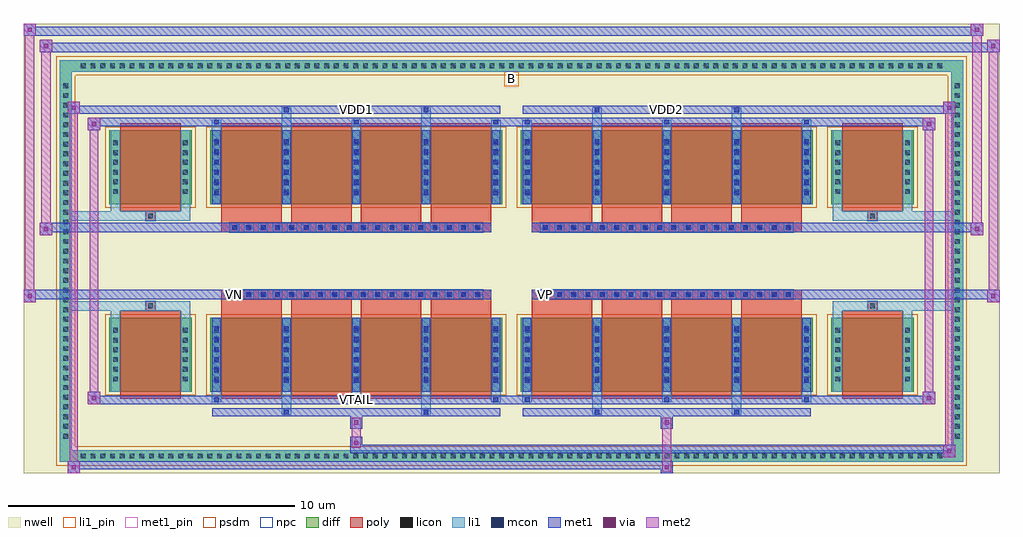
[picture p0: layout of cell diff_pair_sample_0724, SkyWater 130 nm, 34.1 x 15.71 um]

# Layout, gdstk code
import gdstk
lib = gdstk.Library(unit=1e-6, precision=5e-09)
def R(c, l, rs):  # rectangles x0, y0, x1, y1
    for r in rs: c.add(gdstk.rectangle(r[:2], r[2:], *l))
def A(c, l, x, y, w, h, nx, ny, dx, dy):  # array of equal rectangles
    R(c, l, [(x+i*dx, y+j*dy, x+i*dx+w, y+j*dy+h) for i in range(nx) for j in range(ny)])
def P(c, l, *ps):  # polygons
    for p in ps: c.add(gdstk.Polygon(p, *l))
nwell = (64, 20)
diff = (65, 20)
poly = (66, 20)
licon = (66, 44)
li1_pin = (67, 16)
li1 = (67, 20)
mcon = (67, 44)
met1_pin = (68, 16)
met1 = (68, 20)
via = (68, 44)
met2 = (69, 20)
psdm = (94, 20)
npc = (95, 20)

diff_pair_sample_0724 = lib.new_cell('diff_pair_sample_0724')
R(diff_pair_sample_0724, nwell, [(-17.05,-7.42,17.05,8.29), (-14.37,-5.61,-0.01,-0.805), (0.01,-5.61,14.37,-0.805), (-14.37,0.805,-0.01,5.61), (0.01,0.805,14.37,5.61)])
A(diff_pair_sample_0724, diff, -15.165, -7.02, 0.41, 0.41, 89, 2, 0.34, 13.63)
A(diff_pair_sample_0724, diff, -15.78, -6.325, 0.41, 0.41, 1, 37, 0, 0.34)
A(diff_pair_sample_0724, diff, 15.37, -6.325, 0.41, 0.41, 1, 37, 0, 0.34)
R(diff_pair_sample_0724, diff, [(-15.165,-7.02,15.165,-6.61), (-15.78,-6.325,-15.37,6.325), (15.37,-6.325,15.78,6.325), (-14.06,-4.565,-11.17,-1.985), (-10.53,-4.565,-0.32,-1.985), (0.32,-4.565,10.53,-1.985), (11.17,-4.565,14.06,-1.985), (-14.06,1.985,-11.17,4.565), (-10.53,1.985,-0.32,4.565), (0.32,1.985,10.53,4.565), (11.17,1.985,14.06,4.565), (-15.165,6.61,15.165,7.02)])
P(diff_pair_sample_0724, diff, [(15.78,7.02),(-15.78,7.02),(-15.78,-6.61),(-15.37,-6.61),(-15.37,6.61),(15.37,6.61),(15.37,-6.61),(-15.37,-6.61),(-15.78,-6.61),(-15.78,-7.02),(15.78,-7.02)])
A(diff_pair_sample_0724, poly, -10.14, -4.815, 2.11, 3.08, 4, 2, 2.44, 6.55)
A(diff_pair_sample_0724, poly, 0.71, -4.815, 2.11, 3.08, 4, 2, 2.44, 6.55)
A(diff_pair_sample_0724, poly, -10.14, -1.735, 2.11, 0.4, 4, 2, 2.44, 3.07)
A(diff_pair_sample_0724, poly, 0.71, -1.735, 2.11, 0.4, 4, 2, 2.44, 3.07)
A(diff_pair_sample_0724, poly, -9.84, -1.335, 0.33, 0.33, 18, 2, 0.5, 2.34)
A(diff_pair_sample_0724, poly, 1.01, -1.335, 0.33, 0.33, 18, 2, 0.5, 2.34)
R(diff_pair_sample_0724, poly, [(-13.67,-4.815,-11.56,-1.735), (11.56,-4.815,13.67,-1.735), (-12.78,-1.735,-12.45,-1.405), (-12.78,-1.735,-12.45,-1.405), (12.45,-1.735,12.78,-1.405), (12.45,-1.735,12.78,-1.405), (-10.14,-1.335,-0.71,-1.005), (0.71,-1.335,10.14,-1.005), (-10.14,1.005,-0.71,1.335), (0.71,1.005,10.14,1.335), (-12.78,1.405,-12.45,1.735), (-12.78,1.405,-12.45,1.735), (12.45,1.405,12.78,1.735), (12.45,1.405,12.78,1.735), (-13.67,1.735,-11.56,4.815), (11.56,1.735,13.67,4.815)])
A(diff_pair_sample_0724, licon, -15.045, -6.9, 0.17, 0.17, 89, 2, 0.34, 13.63)
A(diff_pair_sample_0724, licon, -15.66, -6.205, 0.17, 0.17, 1, 37, 0, 0.34)
A(diff_pair_sample_0724, licon, 15.49, -6.205, 0.17, 0.17, 1, 37, 0, 0.34)
A(diff_pair_sample_0724, licon, -13.92, -4.21, 0.17, 0.17, 1, 6, 0, 0.34)
A(diff_pair_sample_0724, licon, -11.48, -4.21, 0.17, 0.17, 1, 6, 0, 0.34)
A(diff_pair_sample_0724, licon, -10.39, -4.21, 0.17, 0.17, 5, 6, 2.44, 0.34)
A(diff_pair_sample_0724, licon, 0.46, -4.21, 0.17, 0.17, 5, 6, 2.44, 0.34)
A(diff_pair_sample_0724, licon, 11.31, -4.21, 0.17, 0.17, 1, 6, 0, 0.34)
A(diff_pair_sample_0724, licon, 13.75, -4.21, 0.17, 0.17, 1, 6, 0, 0.34)
A(diff_pair_sample_0724, licon, -9.76, -1.255, 0.17, 0.17, 18, 2, 0.5, 2.34)
A(diff_pair_sample_0724, licon, 1.09, -1.255, 0.17, 0.17, 18, 2, 0.5, 2.34)
A(diff_pair_sample_0724, licon, -13.92, 2.34, 0.17, 0.17, 1, 6, 0, 0.34)
A(diff_pair_sample_0724, licon, -11.48, 2.34, 0.17, 0.17, 1, 6, 0, 0.34)
A(diff_pair_sample_0724, licon, -10.39, 2.34, 0.17, 0.17, 5, 6, 2.44, 0.34)
A(diff_pair_sample_0724, licon, 0.46, 2.34, 0.17, 0.17, 5, 6, 2.44, 0.34)
A(diff_pair_sample_0724, licon, 11.31, 2.34, 0.17, 0.17, 1, 6, 0, 0.34)
A(diff_pair_sample_0724, licon, 13.75, 2.34, 0.17, 0.17, 1, 6, 0, 0.34)
R(diff_pair_sample_0724, licon, [(-12.7,-1.655,-12.53,-1.485), (12.53,-1.655,12.7,-1.485), (-12.7,1.485,-12.53,1.655), (12.53,1.485,12.7,1.655)])
R(diff_pair_sample_0724, li1_pin, [(-0.25,6.11,0.25,6.61)])
A(diff_pair_sample_0724, li1, -15.125, -6.98, 0.33, 0.33, 89, 2, 0.34, 13.63)
A(diff_pair_sample_0724, li1, -15.74, -6.285, 0.33, 0.33, 1, 37, 0, 0.34)
A(diff_pair_sample_0724, li1, 15.41, -6.285, 0.33, 0.33, 1, 37, 0, 0.34)
A(diff_pair_sample_0724, li1, -10.47, -4.94, 0.33, 0.375, 3, 2, 4.88, 9.505)
A(diff_pair_sample_0724, li1, -10.39, -4.94, 0.17, 0.17, 3, 2, 4.88, 9.71)
A(diff_pair_sample_0724, li1, 0.38, -4.94, 0.33, 0.375, 3, 2, 4.88, 9.505)
A(diff_pair_sample_0724, li1, 0.46, -4.94, 0.17, 0.17, 3, 2, 4.88, 9.71)
A(diff_pair_sample_0724, li1, -10.47, -4.565, 0.33, 2.58, 5, 2, 2.44, 6.55)
A(diff_pair_sample_0724, li1, 0.38, -4.565, 0.33, 2.58, 5, 2, 2.44, 6.55)
A(diff_pair_sample_0724, li1, -14, -4.29, 0.33, 0.33, 1, 6, 0, 0.34)
A(diff_pair_sample_0724, li1, -11.56, -4.29, 0.33, 0.33, 1, 6, 0, 0.34)
A(diff_pair_sample_0724, li1, -10.47, -4.29, 0.33, 0.33, 5, 6, 2.44, 0.34)
A(diff_pair_sample_0724, li1, 0.38, -4.29, 0.33, 0.33, 5, 6, 2.44, 0.34)
A(diff_pair_sample_0724, li1, 11.23, -4.29, 0.33, 0.33, 1, 6, 0, 0.34)
A(diff_pair_sample_0724, li1, 13.67, -4.29, 0.33, 0.33, 1, 6, 0, 0.34)
A(diff_pair_sample_0724, li1, -10.39, -4.26, 0.17, 0.17, 5, 6, 2.44, 0.36)
A(diff_pair_sample_0724, li1, -10.39, -4.26, 0.17, 1.97, 5, 2, 2.44, 6.55)
A(diff_pair_sample_0724, li1, 0.46, -4.26, 0.17, 0.17, 5, 6, 2.44, 0.36)
A(diff_pair_sample_0724, li1, 0.46, -4.26, 0.17, 1.97, 5, 2, 2.44, 6.55)
A(diff_pair_sample_0724, li1, -9.84, -1.335, 0.33, 0.33, 18, 2, 0.5, 2.34)
A(diff_pair_sample_0724, li1, 1.01, -1.335, 0.33, 0.33, 18, 2, 0.5, 2.34)
A(diff_pair_sample_0724, li1, -14, 2.26, 0.33, 0.33, 1, 6, 0, 0.34)
A(diff_pair_sample_0724, li1, -11.56, 2.26, 0.33, 0.33, 1, 6, 0, 0.34)
A(diff_pair_sample_0724, li1, -10.47, 2.26, 0.33, 0.33, 5, 6, 2.44, 0.34)
A(diff_pair_sample_0724, li1, 0.38, 2.26, 0.33, 0.33, 5, 6, 2.44, 0.34)
A(diff_pair_sample_0724, li1, 11.23, 2.26, 0.33, 0.33, 1, 6, 0, 0.34)
A(diff_pair_sample_0724, li1, 13.67, 2.26, 0.33, 0.33, 1, 6, 0, 0.34)
A(diff_pair_sample_0724, li1, -10.39, 2.29, 0.17, 0.17, 5, 6, 2.44, 0.36)
A(diff_pair_sample_0724, li1, 0.46, 2.29, 0.17, 0.17, 5, 6, 2.44, 0.36)
R(diff_pair_sample_0724, li1, [(-15.78,-7.02,-15.37,-6.61), (-15.78,-7.02,-15.37,-6.61), (-15.37,-7.02,15.37,-6.61), (15.37,-7.02,15.78,-6.61), (15.37,-7.02,15.78,-6.61), (-15.78,-6.61,-15.37,6.61), (15.37,-6.61,15.78,6.61), (-8.03,-5.37,-7.7,-4.565), (-7.95,-5.37,-7.78,-5.2), (-3.15,-5.37,-2.82,-4.565), (-3.07,-5.37,-2.9,-5.2), (2.82,-5.37,3.15,-4.565), (2.9,-5.37,3.07,-5.2), (7.7,-5.37,8.03,-4.565), (7.78,-5.37,7.95,-5.2), (-14,-4.565,-13.67,-1.985), (-11.56,-4.565,-11.23,-1.985), (11.23,-4.565,11.56,-1.985), (13.67,-4.565,14,-1.985), (-14,-1.985,-13.67,-1.405), (-11.56,-1.985,-11.23,-1.405), (11.23,-1.985,11.56,-1.405), (13.67,-1.985,14,-1.405), (-15.78,-1.735,-12.78,-1.405), (-14,-1.735,-12.78,-1.405), (-12.78,-1.735,-12.45,-1.405), (-12.45,-1.735,-11.23,-1.405), (11.23,-1.735,12.45,-1.405), (12.45,-1.735,12.78,-1.405), (12.45,-1.735,15.78,-1.405), (12.78,-1.735,14,-1.405), (-15.78,1.405,-12.78,1.735), (-14,1.405,-12.78,1.735), (-14,1.405,-13.67,1.985), (-12.78,1.405,-12.45,1.735), (-12.45,1.405,-11.23,1.735), (-11.56,1.405,-11.23,1.985), (11.23,1.405,12.45,1.735), (11.23,1.405,11.56,1.985), (12.45,1.405,12.78,1.735), (12.45,1.405,15.78,1.735), (12.78,1.405,14,1.735), (13.67,1.405,14,1.985), (-14,1.985,-13.67,4.565), (-11.56,1.985,-11.23,4.565), (11.23,1.985,11.56,4.565), (13.67,1.985,14,4.565), (-8.03,4.565,-7.7,5.37), (-3.15,4.565,-2.82,5.37), (2.82,4.565,3.15,5.37), (7.7,4.565,8.03,5.37), (-7.95,5.2,-7.78,5.37), (-3.07,5.2,-2.9,5.37), (2.9,5.2,3.07,5.37), (7.78,5.2,7.95,5.37), (-15.78,6.61,-15.37,7.02), (-15.78,6.61,-15.37,7.02), (-15.37,6.61,15.37,7.02), (15.37,6.61,15.78,7.02), (15.37,6.61,15.78,7.02)])
A(diff_pair_sample_0724, mcon, -10.39, -4.94, 0.17, 0.17, 3, 2, 4.88, 9.71)
A(diff_pair_sample_0724, mcon, 0.46, -4.94, 0.17, 0.17, 3, 2, 4.88, 9.71)
A(diff_pair_sample_0724, mcon, -10.39, -4.26, 0.17, 0.17, 5, 6, 2.44, 0.36)
A(diff_pair_sample_0724, mcon, 0.46, -4.26, 0.17, 0.17, 5, 6, 2.44, 0.36)
A(diff_pair_sample_0724, mcon, -9.76, -1.255, 0.17, 0.17, 18, 2, 0.5, 2.34)
A(diff_pair_sample_0724, mcon, 1.09, -1.255, 0.17, 0.17, 18, 2, 0.5, 2.34)
A(diff_pair_sample_0724, mcon, -10.39, 2.29, 0.17, 0.17, 5, 6, 2.44, 0.36)
A(diff_pair_sample_0724, mcon, 0.46, 2.29, 0.17, 0.17, 5, 6, 2.44, 0.36)
R(diff_pair_sample_0724, mcon, [(-7.95,-5.37,-7.78,-5.2), (-3.07,-5.37,-2.9,-5.2), (2.9,-5.37,3.07,-5.2), (7.78,-5.37,7.95,-5.2), (-7.95,5.2,-7.78,5.37), (-3.07,5.2,-2.9,5.37), (2.9,5.2,3.07,5.37), (7.78,5.2,7.95,5.37)])
R(diff_pair_sample_0724, met1_pin, [(-5.56,-4.98,-5.29,-4.71), (-9.81,-1.295,-9.54,-1.025), (1.04,-1.295,1.31,-1.025), (-5.56,5.16,-5.29,5.43), (5.29,5.16,5.56,5.43)])
A(diff_pair_sample_0724, met1, -10.45, -5, 0.29, 0.29, 3, 2, 4.88, 9.71)
A(diff_pair_sample_0724, met1, 0.4, -5, 0.29, 0.29, 3, 2, 4.88, 9.71)
A(diff_pair_sample_0724, met1, -10.45, -4.565, 0.29, 2.58, 5, 2, 2.44, 6.55)
A(diff_pair_sample_0724, met1, 0.4, -4.565, 0.29, 2.58, 5, 2, 2.44, 6.55)
A(diff_pair_sample_0724, met1, -10.45, -4.32, 0.29, 0.29, 5, 6, 2.44, 0.36)
A(diff_pair_sample_0724, met1, 0.4, -4.32, 0.29, 0.29, 5, 6, 2.44, 0.36)
A(diff_pair_sample_0724, met1, -9.82, -1.315, 0.29, 0.29, 18, 2, 0.5, 2.34)
A(diff_pair_sample_0724, met1, 1.03, -1.315, 0.29, 0.29, 18, 2, 0.5, 2.34)
A(diff_pair_sample_0724, met1, -10.45, 2.23, 0.29, 0.29, 5, 6, 2.44, 0.36)
A(diff_pair_sample_0724, met1, 0.4, 2.23, 0.29, 0.29, 5, 6, 2.44, 0.36)
R(diff_pair_sample_0724, met1, [(-15.51,-7.42,-15.08,-6.99), (5.21,-7.42,5.64,-6.99), (-15.51,-7.28,5.64,-6.99), (15.08,-6.85,15.51,-6.42), (-5.64,-6.71,15.51,-6.42), (-5.64,-6.57,-5.21,-6.14), (-5.64,-5.86,-5.21,-5.43), (5.21,-5.86,5.64,-5.43), (-10.45,-5.43,-0.4,-5.14), (-8.01,-5.43,-7.72,-5.14), (-3.13,-5.43,-2.84,-5.14), (0.4,-5.43,10.45,-5.14), (2.84,-5.43,3.13,-5.14), (7.72,-5.43,8.01,-5.14), (-14.8,-5,-14.37,-4.57), (-14.8,-5,-10.45,-4.71), (-10.45,-5,-0.4,-4.71), (-0.4,-5,0.4,-4.71), (0.4,-5,10.45,-4.71), (10.45,-5,14.8,-4.71), (14.37,-5,14.8,-4.57), (-17.05,-1.435,-16.62,-1.005), (16.62,-1.435,17.05,-1.005), (-17.05,-1.335,-0.71,-1.005), (-10.14,-1.335,-0.71,-1.005), (0.71,-1.335,10.14,-1.005), (0.71,-1.335,17.05,-1.005), (-16.48,0.905,-16.05,1.335), (16.05,0.905,16.48,1.335), (-16.48,1.005,-10.14,1.335), (-10.14,1.005,-0.71,1.335), (0.71,1.005,10.14,1.335), (10.14,1.005,16.48,1.335), (-14.8,4.57,-14.37,5), (14.37,4.57,14.8,5), (-14.8,4.71,-10.45,5), (-10.45,4.71,-0.4,5), (-0.4,4.71,0.4,5), (0.4,4.71,10.45,5), (10.45,4.71,14.8,5), (-15.51,5.14,-15.08,5.57), (-15.51,5.14,-10.45,5.43), (-10.45,5.14,-0.4,5.43), (-8.01,5.14,-7.72,5.43), (-3.13,5.14,-2.84,5.43), (0.4,5.14,10.45,5.43), (2.84,5.14,3.13,5.43), (7.72,5.14,8.01,5.43), (10.45,5.14,15.51,5.43), (15.08,5.14,15.51,5.57), (-16.48,7.29,-16.05,7.72), (-16.48,7.29,-14.37,7.62), (-14.37,7.29,14.37,7.62), (14.37,7.29,17.05,7.62), (16.62,7.29,17.05,7.72), (-17.05,7.86,-16.62,8.29), (-17.05,7.86,-14.37,8.19), (-14.37,7.86,14.37,8.19), (14.37,7.86,16.48,8.19), (16.05,7.86,16.48,8.29)])
R(diff_pair_sample_0724, via, [(-15.37,-7.28,-15.22,-7.13), (5.35,-7.28,5.5,-7.13), (15.22,-6.71,15.37,-6.56), (-5.5,-6.43,-5.35,-6.28), (-5.5,-5.72,-5.35,-5.57), (5.35,-5.72,5.5,-5.57), (-14.66,-4.86,-14.51,-4.71), (14.51,-4.86,14.66,-4.71), (-16.91,-1.295,-16.76,-1.145), (16.76,-1.295,16.91,-1.145), (-16.34,1.045,-16.19,1.195), (16.19,1.045,16.34,1.195), (-14.66,4.71,-14.51,4.86), (14.51,4.71,14.66,4.86), (-15.37,5.28,-15.22,5.43), (15.22,5.28,15.37,5.43), (-16.34,7.43,-16.19,7.58), (16.76,7.43,16.91,7.58), (-16.91,8,-16.76,8.15), (16.19,8,16.34,8.15)])
R(diff_pair_sample_0724, met2, [(-15.51,-7.42,-15.08,-6.99), (-15.44,-7.42,-15.15,5.57), (-15.15,-7.42,-15.08,-6.99), (-15.46,-7.37,-15.13,-7.04), (5.26,-7.37,5.59,-7.04), (5.26,-7.04,5.59,-5.81), (15.08,-6.85,15.51,-6.42), (15.15,-6.85,15.44,5.57), (15.44,-6.85,15.51,-6.42), (15.13,-6.8,15.46,-6.47), (-5.59,-6.52,-5.26,-6.19), (-5.59,-6.19,-5.26,-5.81), (-5.59,-5.81,-5.26,-5.48), (5.26,-5.81,5.59,-5.48), (-14.8,-5,-14.37,-4.57), (-14.73,-5,-14.44,5), (-14.44,-5,-14.37,-4.57), (14.37,-5,14.8,-4.57), (14.44,-5,14.73,5), (14.73,-5,14.8,-4.57), (-14.75,-4.95,-14.42,-4.62), (14.42,-4.95,14.75,-4.62), (-17.05,-1.435,-16.62,-1.005), (-17,-1.435,-16.67,8.29), (-16.67,-1.435,-16.62,-1.005), (16.62,-1.435,17.05,-1.005), (16.67,-1.435,17,7.72), (17,-1.435,17.05,-1.005), (-17,-1.385,-16.67,-1.055), (16.67,-1.385,17,-1.055), (-16.48,0.905,-16.05,1.335), (-16.43,0.905,-16.1,7.72), (-16.1,0.905,-16.05,1.335), (16.05,0.905,16.48,1.335), (16.1,0.905,16.43,8.29), (16.43,0.905,16.48,1.335), (-16.43,0.955,-16.1,1.285), (16.1,0.955,16.43,1.285), (-14.8,4.57,-14.37,5), (-14.44,4.57,-14.37,5), (14.37,4.57,14.8,5), (14.73,4.57,14.8,5), (-14.75,4.62,-14.42,4.95), (14.42,4.62,14.75,4.95), (-15.51,5.14,-15.08,5.57), (-15.15,5.14,-15.08,5.57), (15.08,5.14,15.51,5.57), (15.44,5.14,15.51,5.57), (-15.46,5.19,-15.13,5.52), (15.13,5.19,15.46,5.52), (-16.48,7.29,-16.05,7.72), (-16.1,7.29,-16.05,7.72), (16.62,7.29,17.05,7.72), (17,7.29,17.05,7.72), (-16.43,7.34,-16.1,7.67), (16.67,7.34,17,7.67), (-17.05,7.86,-16.62,8.29), (-16.67,7.86,-16.62,8.29), (16.05,7.86,16.48,8.29), (16.43,7.86,16.48,8.29), (-17,7.91,-16.67,8.24), (16.1,7.91,16.43,8.24)])
R(diff_pair_sample_0724, psdm, [(-14.19,-4.695,-11.04,-1.855), (-10.66,-4.695,-0.19,-1.855), (0.19,-4.695,10.66,-1.855), (11.04,-4.695,14.19,-1.855), (-14.19,1.855,-11.04,4.695), (-10.66,1.855,-0.19,4.695), (0.19,1.855,10.66,4.695), (11.04,1.855,14.19,4.695)])
P(diff_pair_sample_0724, psdm, [(15.91,7.15),(-15.91,7.15),(-15.91,-6.48),(-15.24,-6.48),(-15.24,6.48),(15.24,6.48),(15.24,-6.48),(-15.24,-6.48),(-15.91,-6.48),(-15.91,-7.15),(15.91,-7.15)])
A(diff_pair_sample_0724, npc, -9.86, -1.355, 0.37, 0.37, 18, 2, 0.5, 2.34)
A(diff_pair_sample_0724, npc, 0.99, -1.355, 0.37, 0.37, 18, 2, 0.5, 2.34)
R(diff_pair_sample_0724, npc, [(-12.8,-1.755,-12.43,-1.385), (12.43,-1.755,12.8,-1.385), (-9.86,-1.355,-8.99,-0.985), (-9.86,-1.355,-8.99,-0.985), (-9.36,-1.355,-8.49,-0.985), (-9.36,-1.355,-8.49,-0.985), (-8.86,-1.355,-7.99,-0.985), (-8.86,-1.355,-7.99,-0.985), (-8.36,-1.355,-7.49,-0.985), (-8.36,-1.355,-7.49,-0.985), (-7.86,-1.355,-6.99,-0.985), (-7.86,-1.355,-6.99,-0.985), (-7.36,-1.355,-6.49,-0.985), (-7.36,-1.355,-6.49,-0.985), (-6.86,-1.355,-5.99,-0.985), (-6.86,-1.355,-5.99,-0.985), (-6.36,-1.355,-5.49,-0.985), (-6.36,-1.355,-5.49,-0.985), (-5.86,-1.355,-4.99,-0.985), (-5.86,-1.355,-4.99,-0.985), (-5.36,-1.355,-4.49,-0.985), (-5.36,-1.355,-4.49,-0.985), (-4.86,-1.355,-3.99,-0.985), (-4.86,-1.355,-3.99,-0.985), (-4.36,-1.355,-3.49,-0.985), (-4.36,-1.355,-3.49,-0.985), (-3.86,-1.355,-2.99,-0.985), (-3.86,-1.355,-2.99,-0.985), (-3.36,-1.355,-2.49,-0.985), (-3.36,-1.355,-2.49,-0.985), (-2.86,-1.355,-1.99,-0.985), (-2.86,-1.355,-1.99,-0.985), (-2.36,-1.355,-1.49,-0.985), (-2.36,-1.355,-1.49,-0.985), (-1.86,-1.355,-0.99,-0.985), (-1.86,-1.355,-0.99,-0.985), (0.99,-1.355,1.86,-0.985), (0.99,-1.355,1.86,-0.985), (1.49,-1.355,2.36,-0.985), (1.49,-1.355,2.36,-0.985), (1.99,-1.355,2.86,-0.985), (1.99,-1.355,2.86,-0.985), (2.49,-1.355,3.36,-0.985), (2.49,-1.355,3.36,-0.985), (2.99,-1.355,3.86,-0.985), (2.99,-1.355,3.86,-0.985), (3.49,-1.355,4.36,-0.985), (3.49,-1.355,4.36,-0.985), (3.99,-1.355,4.86,-0.985), (3.99,-1.355,4.86,-0.985), (4.49,-1.355,5.36,-0.985), (4.49,-1.355,5.36,-0.985), (4.99,-1.355,5.86,-0.985), (4.99,-1.355,5.86,-0.985), (5.49,-1.355,6.36,-0.985), (5.49,-1.355,6.36,-0.985), (5.99,-1.355,6.86,-0.985), (5.99,-1.355,6.86,-0.985), (6.49,-1.355,7.36,-0.985), (6.49,-1.355,7.36,-0.985), (6.99,-1.355,7.86,-0.985), (6.99,-1.355,7.86,-0.985), (7.49,-1.355,8.36,-0.985), (7.49,-1.355,8.36,-0.985), (7.99,-1.355,8.86,-0.985), (7.99,-1.355,8.86,-0.985), (8.49,-1.355,9.36,-0.985), (8.49,-1.355,9.36,-0.985), (8.99,-1.355,9.86,-0.985), (8.99,-1.355,9.86,-0.985), (-9.86,0.985,-8.99,1.355), (-9.86,0.985,-8.99,1.355), (-9.36,0.985,-8.49,1.355), (-9.36,0.985,-8.49,1.355), (-8.86,0.985,-7.99,1.355), (-8.86,0.985,-7.99,1.355), (-8.36,0.985,-7.49,1.355), (-8.36,0.985,-7.49,1.355), (-7.86,0.985,-6.99,1.355), (-7.86,0.985,-6.99,1.355), (-7.36,0.985,-6.49,1.355), (-7.36,0.985,-6.49,1.355), (-6.86,0.985,-5.99,1.355), (-6.86,0.985,-5.99,1.355), (-6.36,0.985,-5.49,1.355), (-6.36,0.985,-5.49,1.355), (-5.86,0.985,-4.99,1.355), (-5.86,0.985,-4.99,1.355), (-5.36,0.985,-4.49,1.355), (-5.36,0.985,-4.49,1.355), (-4.86,0.985,-3.99,1.355), (-4.86,0.985,-3.99,1.355), (-4.36,0.985,-3.49,1.355), (-4.36,0.985,-3.49,1.355), (-3.86,0.985,-2.99,1.355), (-3.86,0.985,-2.99,1.355), (-3.36,0.985,-2.49,1.355), (-3.36,0.985,-2.49,1.355), (-2.86,0.985,-1.99,1.355), (-2.86,0.985,-1.99,1.355), (-2.36,0.985,-1.49,1.355), (-2.36,0.985,-1.49,1.355), (-1.86,0.985,-0.99,1.355), (-1.86,0.985,-0.99,1.355), (0.99,0.985,1.86,1.355), (0.99,0.985,1.86,1.355), (1.49,0.985,2.36,1.355), (1.49,0.985,2.36,1.355), (1.99,0.985,2.86,1.355), (1.99,0.985,2.86,1.355), (2.49,0.985,3.36,1.355), (2.49,0.985,3.36,1.355), (2.99,0.985,3.86,1.355), (2.99,0.985,3.86,1.355), (3.49,0.985,4.36,1.355), (3.49,0.985,4.36,1.355), (3.99,0.985,4.86,1.355), (3.99,0.985,4.86,1.355), (4.49,0.985,5.36,1.355), (4.49,0.985,5.36,1.355), (4.99,0.985,5.86,1.355), (4.99,0.985,5.86,1.355), (5.49,0.985,6.36,1.355), (5.49,0.985,6.36,1.355), (5.99,0.985,6.86,1.355), (5.99,0.985,6.86,1.355), (6.49,0.985,7.36,1.355), (6.49,0.985,7.36,1.355), (6.99,0.985,7.86,1.355), (6.99,0.985,7.86,1.355), (7.49,0.985,8.36,1.355), (7.49,0.985,8.36,1.355), (7.99,0.985,8.86,1.355), (7.99,0.985,8.86,1.355), (8.49,0.985,9.36,1.355), (8.49,0.985,9.36,1.355), (8.99,0.985,9.86,1.355), (8.99,0.985,9.86,1.355), (-12.8,1.385,-12.43,1.755), (12.43,1.385,12.8,1.755)])
diff_pair_sample_0724.add(gdstk.Label('VTAIL', (-5.425,-4.845), layer=68, texttype=5))
diff_pair_sample_0724.add(gdstk.Label('VN', (-9.675,-1.16), layer=68, texttype=5))
diff_pair_sample_0724.add(gdstk.Label('VP', (1.175,-1.16), layer=68, texttype=5))
diff_pair_sample_0724.add(gdstk.Label('B', (0,6.36), layer=67, texttype=5))
diff_pair_sample_0724.add(gdstk.Label('VDD2', (5.425,5.295), layer=68, texttype=5))
diff_pair_sample_0724.add(gdstk.Label('VDD1', (-5.425,5.295), layer=68, texttype=5))

lib.write_gds('diff_pair_sample_0724.gds')
